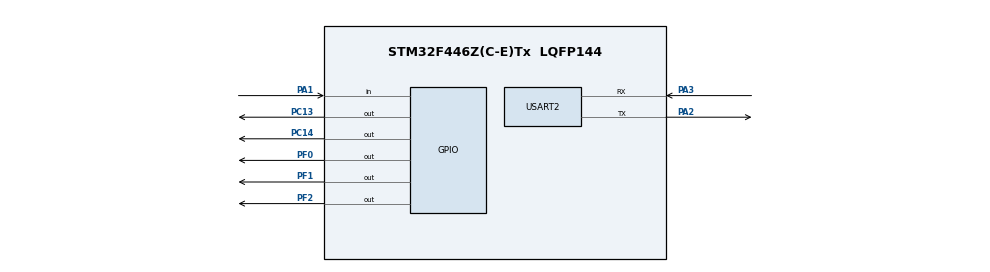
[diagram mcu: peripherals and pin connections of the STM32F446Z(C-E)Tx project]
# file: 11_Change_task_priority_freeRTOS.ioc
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FREERTOS.Tasks01=Task1,27,128,Task1_Handler,Default,NULL,Dynamic,NULL,NULL;Task2,29,128,Task2_Handler,Default,NULL,Dynamic,NULL,NULL
Mcu.Family=STM32F4
Mcu.Name=STM32F446Z(C-E)Tx
Mcu.Package=LQFP144
NVIC.PriorityGroup=NVIC_PRIORITYGROUP_4
NVIC.TIM1_UP_TIM10_IRQn=true\:15\:0\:false\:false\:true\:false\:false\:true\:true
NVIC.TimeBase=TIM1_UP_TIM10_IRQn
NVIC.TimeBaseIP=TIM1
PA1.Signal=GPIO_Input
PA13.Mode=Serial_Wire
PA13.Signal=SYS_JTMS-SWDIO
PA14.Mode=Serial_Wire
PA14.Signal=SYS_JTCK-SWCLK
PA2.Mode=Asynchronous
PA2.Signal=USART2_TX
PA3.Mode=Asynchronous
PA3.Signal=USART2_RX
PC13.Signal=GPIO_Output
PC14-OSC32_IN.Signal=GPIO_Output
PF0.Signal=GPIO_Output
PF1.Signal=GPIO_Output
PF2.Signal=GPIO_Output
ProjectManager.HeapSize=0x200
ProjectManager.StackSize=0x400
ProjectManager.TargetToolchain=STM32CubeIDE
RCC.CortexFreq_Value=16000000
RCC.USBFreq_Value=96000000
RCC.VCOOutputFreq_Value=192000000
USART2.VirtualMode=VM_ASYNC
VP_FREERTOS_VS_CMSIS_V2.Mode=CMSIS_V2
VP_SYS_VS_tim1.Mode=TIM1
board=custom

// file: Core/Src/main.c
/* USER CODE BEGIN Header */
/**
  ******************************************************************************
  * @file           : main.c
  * @brief          : Main program body
  ******************************************************************************
  * @attention
  *
  * Copyright (c) 2024 STMicroelectronics.
  * All rights reserved.
  *
  * This software is licensed under terms that can be found in the LICENSE file
  * in the root directory of this software component.
  * If no LICENSE file comes with this software, it is provided AS-IS.
  *
  ******************************************************************************
  */
/* USER CODE END Header */
#include "main.h"
#include "cmsis_os.h"

/* USER CODE BEGIN Includes */
#include "string.h"
#include "stdio.h"
/* USER CODE END Includes */

UART_HandleTypeDef huart2;

/* Definitions for Task1 */
osThreadId_t Task1Handle;
const osThreadAttr_t Task1_attributes = {
  .name = "Task1",
  .stack_size = 128 * 4,
  .priority = (osPriority_t) osPriorityNormal5,
};
/* Definitions for Task2 */
osThreadId_t Task2Handle;
const osThreadAttr_t Task2_attributes = {
  .name = "Task2",
  .stack_size = 128 * 4,
  .priority = (osPriority_t) osPriorityNormal3,
};
/* USER CODE BEGIN PV */
void EXTI_Config();

char myMessage[100];
uint8_t buttonState = 0;
/* USER CODE END PV */

void SystemClock_Config(void);
static void MX_GPIO_Init(void);
static void MX_USART2_UART_Init(void);
void Task1_Handler(void *argument);
void Task2_Handler(void *argument);

/* USER CODE BEGIN 0 */
void EXTI1_IRQHandler(void) {
    // Kesme kaynağını kontrol et
    if (__HAL_GPIO_EXTI_GET_IT(GPIO_PIN_1) != RESET) {
        // Kesme işlemleri (örneğin LED yakmak)
        HAL_GPIO_TogglePin(GPIOA, GPIO_PIN_5); // A5 pinindeki bir LED'i yakıp söndür

        // Kesme bayrağını sıfırlayın
        __HAL_GPIO_EXTI_CLEAR_IT(GPIO_PIN_1);

        if(HAL_GPIO_ReadPin(GPIOA, GPIO_PIN_1) == GPIO_PIN_SET)
        {
        	buttonState = 1;
        }
    }
}

void prinMessage(char *message)
{
	for(int i = 0;i < strlen(message);i++)
	{
        while (__HAL_UART_GET_FLAG(&huart2, UART_FLAG_TXE) == SET) {
        	 HAL_UART_Transmit(&huart2, (uint8_t*)&message[i], 1, HAL_MAX_DELAY);
        }

	}
}
/* USER CODE END 0 */

int main(void)
{

  /* MCU Configuration--------------------------------------------------------*/

  /* Reset of all peripherals, Initializes the Flash interface and the Systick. */
  HAL_Init();

  /* Configure the system clock */
  SystemClock_Config();

  /* Initialize all configured peripherals */
  MX_GPIO_Init();
  MX_USART2_UART_Init();

  /* Init scheduler */
  osKernelInitialize();

  /* Create the thread(s) */
  /* creation of Task1 */
  Task1Handle = osThreadNew(Task1_Handler, NULL, &Task1_attributes);

  /* creation of Task2 */
  Task2Handle = osThreadNew(Task2_Handler, NULL, &Task2_attributes);

  /* Start scheduler */
  osKernelStart();

  /* We should never get here as control is now taken by the scheduler */
  /* Infinite loop */
  while (1)
  {

  }
}

void SystemClock_Config(void)
{
  RCC_OscInitTypeDef RCC_OscInitStruct = {0};
  RCC_ClkInitTypeDef RCC_ClkInitStruct = {0};

  /** Configure the main internal regulator output voltage
  */
  __HAL_RCC_PWR_CLK_ENABLE();
  __HAL_PWR_VOLTAGESCALING_CONFIG(PWR_REGULATOR_VOLTAGE_SCALE3);

  /** Initializes the RCC Oscillators according to the specified parameters
  * in the RCC_OscInitTypeDef structure.
  */
  RCC_OscInitStruct.OscillatorType = RCC_OSCILLATORTYPE_HSI;
  RCC_OscInitStruct.HSIState = RCC_HSI_ON;
  RCC_OscInitStruct.HSICalibrationValue = RCC_HSICALIBRATION_DEFAULT;
  RCC_OscInitStruct.PLL.PLLState = RCC_PLL_NONE;
  if (HAL_RCC_OscConfig(&RCC_OscInitStruct) != HAL_OK)
  {
    Error_Handler();
  }

  /** Initializes the CPU, AHB and APB buses clocks
  */
  RCC_ClkInitStruct.ClockType = RCC_CLOCKTYPE_HCLK|RCC_CLOCKTYPE_SYSCLK
                              |RCC_CLOCKTYPE_PCLK1|RCC_CLOCKTYPE_PCLK2;
  RCC_ClkInitStruct.SYSCLKSource = RCC_SYSCLKSOURCE_HSI;
  RCC_ClkInitStruct.AHBCLKDivider = RCC_SYSCLK_DIV1;
  RCC_ClkInitStruct.APB1CLKDivider = RCC_HCLK_DIV1;
  RCC_ClkInitStruct.APB2CLKDivider = RCC_HCLK_DIV1;

  if (HAL_RCC_ClockConfig(&RCC_ClkInitStruct, FLASH_LATENCY_0) != HAL_OK)
  {
    Error_Handler();
  }
}

static void MX_USART2_UART_Init(void)
{

  huart2.Instance = USART2;
  huart2.Init.BaudRate = 9600;
  huart2.Init.WordLength = UART_WORDLENGTH_8B;
  huart2.Init.StopBits = UART_STOPBITS_1;
  huart2.Init.Parity = UART_PARITY_NONE;
  huart2.Init.Mode = UART_MODE_TX_RX;
  huart2.Init.HwFlowCtl = UART_HWCONTROL_NONE;
  huart2.Init.OverSampling = UART_OVERSAMPLING_16;
  if (HAL_UART_Init(&huart2) != HAL_OK)
  {
    Error_Handler();
  }

}

static void MX_GPIO_Init(void)
{
  GPIO_InitTypeDef GPIO_InitStruct = {0};

  /* GPIO Ports Clock Enable */
  __HAL_RCC_GPIOC_CLK_ENABLE();
  __HAL_RCC_GPIOF_CLK_ENABLE();
  __HAL_RCC_GPIOA_CLK_ENABLE();

  /*Configure GPIO pin Output Level */
  HAL_GPIO_WritePin(GPIOC, GPIO_PIN_13|GPIO_PIN_14, GPIO_PIN_RESET);

  /*Configure GPIO pin Output Level */
  HAL_GPIO_WritePin(GPIOF, GPIO_PIN_0|GPIO_PIN_1|GPIO_PIN_2, GPIO_PIN_RESET);

  /*Configure GPIO pins : PC13 PC14 */
  GPIO_InitStruct.Pin = GPIO_PIN_13|GPIO_PIN_14;
  GPIO_InitStruct.Mode = GPIO_MODE_OUTPUT_PP;
  GPIO_InitStruct.Pull = GPIO_NOPULL;
  GPIO_InitStruct.Speed = GPIO_SPEED_FREQ_LOW;
  HAL_GPIO_Init(GPIOC, &GPIO_InitStruct);

  /*Configure GPIO pins : PF0 PF1 PF2 */
  GPIO_InitStruct.Pin = GPIO_PIN_0|GPIO_PIN_1|GPIO_PIN_2;
  GPIO_InitStruct.Mode = GPIO_MODE_OUTPUT_PP;
  GPIO_InitStruct.Pull = GPIO_NOPULL;
  GPIO_InitStruct.Speed = GPIO_SPEED_FREQ_LOW;
  HAL_GPIO_Init(GPIOF, &GPIO_InitStruct);

  /*Configure GPIO pin : PA1 */
  GPIO_InitStruct.Pin = GPIO_PIN_1;
  GPIO_InitStruct.Mode = GPIO_MODE_INPUT;
  GPIO_InitStruct.Pull = GPIO_NOPULL;
  HAL_GPIO_Init(GPIOA, &GPIO_InitStruct);

/* USER CODE BEGIN MX_GPIO_Init_2 */
  GPIO_InitStruct.Mode = GPIO_MODE_AF_OD;
  GPIO_InitStruct.Pin = GPIO_PIN_2 | GPIO_PIN_3;
  GPIO_InitStruct.Pull = GPIO_PULLUP;
  GPIO_InitStruct.Speed = GPIO_SPEED_FREQ_VERY_HIGH;
  GPIO_InitStruct.Alternate =GPIO_AF7_USART2;

  HAL_GPIO_Init(GPIOA, &GPIO_InitStruct);
/* USER CODE END MX_GPIO_Init_2 */
}

/* USER CODE BEGIN 4 */
void freeRTOS_Delay(uint32_t delayMS)
{
	uint32_t currentTick = xTaskGetTickCount();
	uint32_t delayTick = pdMS_TO_TICKS(delayMS);
	while(xTaskGetTickCount() < (currentTick + delayTick));
}

void EXTI_Config()
{
	GPIO_InitTypeDef GPIO_InitStruct = {0};

	__HAL_RCC_GPIOA_CLK_ENABLE();

    // A1 Pin (Buton) yapılandırması
    GPIO_InitStruct.Pin = GPIO_PIN_1; // PA1
    GPIO_InitStruct.Mode = GPIO_MODE_IT_RISING; // Yükselen kenar kesmesi
    GPIO_InitStruct.Pull = GPIO_NOPULL; // Pull-up/pull-down yok
    HAL_GPIO_Init(GPIOA, &GPIO_InitStruct);

    // NVIC yapılandırması
    HAL_NVIC_SetPriority(EXTI1_IRQn, 2, 0); // Öncelik ayarı
    HAL_NVIC_EnableIRQ(EXTI1_IRQn); // Kesmenin etkinleştirilmesi
}

/* USER CODE END 4 */

void Task1_Handler(void *argument)
{
	UBaseType_t p1,p2;

	 sprintf(myMessage, "Task1 is running\r\n");
	 prinMessage(myMessage);

	 sprintf(myMessage,"Task1 priority : %d \r\n", uxTaskPriorityGet(Task1Handle));
	 prinMessage(myMessage);

	 sprintf(myMessage,"Task2 priority : %d \r\n", uxTaskPriorityGet(Task2Handle));
    prinMessage(myMessage);
  /* USER CODE BEGIN 5 */
  /* Infinite loop */
  for(;;)
  {
	  if(buttonState == 1)
	  {
		  p1= uxTaskPriorityGet(Task1Handle);
		  p2 = uxTaskPriorityGet(Task2Handle);

		  vTaskPrioritySet(Task1Handle, p2);
		  vTaskPrioritySet(Task2Handle, p1);
	  }

	  freeRTOS_Delay(200);

  }
  /* USER CODE END 5 */
}

void Task2_Handler(void *argument)
{
	  UBaseType_t p1,p2;

	  sprintf(myMessage,"TASK2' running \r\n");
	  prinMessage(myMessage);

	  sprintf(myMessage,"TASK1' priority\r\n",uxTaskPriorityGet(Task1Handle));
	  prinMessage(myMessage);
	  sprintf(myMessage,"TASK2' priority\r\n",uxTaskPriorityGet(Task2Handle));
	  prinMessage(myMessage);
  /* USER CODE BEGIN Task2_Handler */
  /* Infinite loop */
  for(;;)
  {

      if(HAL_GPIO_ReadPin(GPIOA, GPIO_PIN_1) == GPIO_PIN_SET)
      {
    	  buttonState = 0;

    	  p1 =uxTaskPriorityGet(Task1Handle);
    	  p2 = uxTaskPriorityGet(Task2Handle);

    	  vTaskPrioritySet(Task1Handle, p2);
    	  vTaskPrioritySet(Task2Handle, p1);
      }
  }
  /* USER CODE END Task2_Handler */
}

void HAL_TIM_PeriodElapsedCallback(TIM_HandleTypeDef *htim)
{
  if (htim->Instance == TIM1) {
    HAL_IncTick();
  }
}

void Error_Handler(void)
{
  __disable_irq();
  while (1)
  {
  }
}
